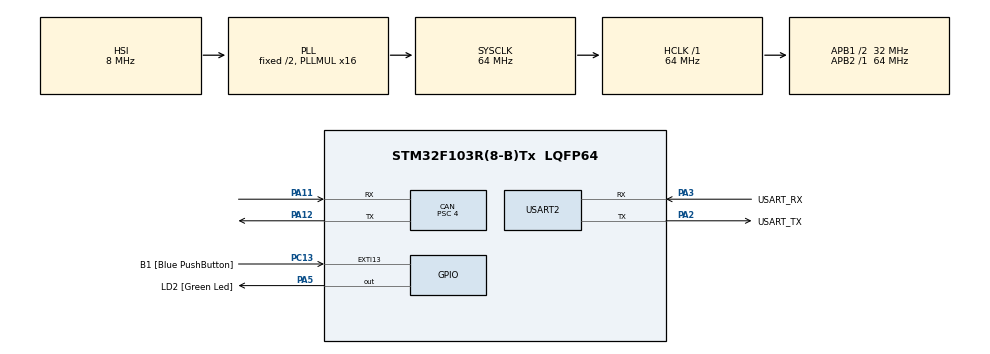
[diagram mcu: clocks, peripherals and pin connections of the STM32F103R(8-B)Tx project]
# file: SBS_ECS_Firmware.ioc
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CAN.BS1=CAN_BS1_13TQ
CAN.BS2=CAN_BS2_2TQ
CAN.CalculateBaudRate=500000
CAN.CalculateTimeBit=2000
CAN.CalculateTimeQuantum=125.0
CAN.Prescaler=4
Mcu.Family=STM32F1
Mcu.Name=STM32F103R(8-B)Tx
Mcu.Package=LQFP64
NVIC.EXTI15_10_IRQn=true\:0\:0\:false\:false\:true\:true\:true\:true
NVIC.PriorityGroup=NVIC_PRIORITYGROUP_4
NVIC.USART2_IRQn=true\:0\:0\:false\:false\:true\:true\:true\:true
NVIC.USB_LP_CAN1_RX0_IRQn=true\:0\:0\:false\:false\:true\:true\:true\:true
PA11.Mode=CAN_Activate
PA11.Signal=CAN_RX
PA12.Mode=CAN_Activate
PA12.Signal=CAN_TX
PA13.GPIO_Label=TMS
PA13.Mode=Serial_Wire
PA13.Signal=SYS_JTMS-SWDIO
PA14.GPIO_Label=TCK
PA14.Mode=Serial_Wire
PA14.Signal=SYS_JTCK-SWCLK
PA2.GPIO_Label=USART_TX
PA2.GPIO_Mode=GPIO_MODE_AF_PP
PA2.GPIO_PuPd=GPIO_NOPULL
PA2.GPIO_Speed=GPIO_SPEED_FREQ_LOW
PA2.Mode=Asynchronous
PA2.Signal=USART2_TX
PA3.GPIO_Label=USART_RX
PA3.GPIO_Mode=GPIO_MODE_AF_PP
PA3.GPIO_PuPd=GPIO_NOPULL
PA3.GPIO_Speed=GPIO_SPEED_FREQ_LOW
PA3.Mode=Asynchronous
PA3.Signal=USART2_RX
PA5.GPIO_Label=LD2 [Green Led]
PA5.GPIO_ModeDefaultOutputPP=GPIO_MODE_OUTPUT_PP
PA5.GPIO_PuPd=GPIO_NOPULL
PA5.GPIO_Speed=GPIO_SPEED_FREQ_LOW
PA5.Signal=GPIO_Output
PB3.GPIO_Label=SWO
PB3.Signal=SYS_JTDO-TRACESWO
PC13-TAMPER-RTC.GPIO_Label=B1 [Blue PushButton]
PC13-TAMPER-RTC.GPIO_PuPd=GPIO_NOPULL
PC13-TAMPER-RTC.Signal=GPXTI13
PC14-OSC32_IN.Mode=LSE-External-Oscillator
PC14-OSC32_IN.Signal=RCC_OSC32_IN
PC15-OSC32_OUT.Mode=LSE-External-Oscillator
PC15-OSC32_OUT.Signal=RCC_OSC32_OUT
PD0-OSC_IN.Mode=HSE-External-Clock-Source
PD0-OSC_IN.Signal=RCC_OSC_IN
PD1-OSC_OUT.Mode=HSE-External-Clock-Source
PD1-OSC_OUT.Signal=RCC_OSC_OUT
ProjectManager.HeapSize=0x200
ProjectManager.StackSize=0x400
ProjectManager.TargetToolchain=STM32CubeIDE
RCC.AHBFreq_Value=64000000
RCC.APB1CLKDivider=RCC_HCLK_DIV2
RCC.APB1Freq_Value=32000000
RCC.APB1TimFreq_Value=64000000
RCC.APB2Freq_Value=64000000
RCC.APB2TimFreq_Value=64000000
RCC.HCLKFreq_Value=64000000
RCC.PLLMUL=RCC_PLL_MUL16
RCC.RTCClockSelection=RCC_RTCCLKSOURCE_LSE
RCC.SYSCLKFreq_VALUE=64000000
RCC.SYSCLKSource=RCC_SYSCLKSOURCE_PLLCLK
RCC.USBFreq_Value=64000000
USART2.VirtualMode=VM_ASYNC
board=NUCLEO-F103RB

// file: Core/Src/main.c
/* USER CODE BEGIN Header */
/**
  ******************************************************************************
  * @file           : main.c
  * @brief          : Main program body
  ******************************************************************************
  * @attention
  *
  * Copyright (c) 2026 STMicroelectronics.
  * All rights reserved.
  *
  * This software is licensed under terms that can be found in the LICENSE file
  * in the root directory of this software component.
  * If no LICENSE file comes with this software, it is provided AS-IS.
  *
  ******************************************************************************
  */
/* USER CODE END Header */
#include "main.h"

/* USER CODE BEGIN Includes */
#include "ecs_can.h"
#include "ecs_math.h"
#include <stdio.h>
/* USER CODE END Includes */

CAN_HandleTypeDef hcan;

UART_HandleTypeDef huart2;

/* USER CODE BEGIN PV */
/* USER CODE BEGIN PV */
float g_Last_Angle = 0.0f; // 계산된 최신 방위각 기억용
uint8_t uart_rx_byte;      // 1바이트씩 받을 변수
uint8_t uart_rx_buf[10];   // 패킷을 모아둘 버퍼
uint8_t uart_rx_idx = 0;
/* USER CODE END PV */
/* USER CODE END PV */

void SystemClock_Config(void);
static void MX_GPIO_Init(void);
static void MX_USART2_UART_Init(void);
static void MX_CAN_Init(void);

/* USER CODE BEGIN 0 */
int __io_putchar(int ch)
{
 if ( ch == '\n' )
	 HAL_UART_Transmit(&huart2, (uint8_t*)&"\r", 1, HAL_MAX_DELAY);
 HAL_UART_Transmit(&huart2, (uint8_t*)&ch, 1, HAL_MAX_DELAY);
 return ch;
}
/* USER CODE END 0 */

int main(void)
{

  /* MCU Configuration--------------------------------------------------------*/

  /* Reset of all peripherals, Initializes the Flash interface and the Systick. */
  HAL_Init();

  /* Configure the system clock */
  SystemClock_Config();

  /* Initialize all configured peripherals */
  MX_GPIO_Init();
  MX_USART2_UART_Init();
  MX_CAN_Init();
  /* USER CODE BEGIN 2 */
    ECS_CAN_Filter_Init();

    // 💡 메인 루프 진입 전에 UART 인터럽트 수신을 최초 1회 시작해 줍니다.
    HAL_UART_Receive_IT(&huart2, &uart_rx_byte, 1);

    // [추가] UART 동작 확인용 테스트 메시지
    printf("ECS System Started...\r\n");
    HAL_UART_Transmit(&huart2, (uint8_t*)"UART OK\r\n", 9, 100);
    /* USER CODE END 2 */

    /* Infinite loop */
    /* USER CODE BEGIN WHILE */
    while (1)
    {
        // 1. 탐색기 데이터 처리 (의존성 분리)
        // 데이터가 들어올 때만 '좌표'와 '계산된 각도'를 최신화함
        if (g_NewTarget_Flag == 1) {
            g_NewTarget_Flag = 0;

            // 최신 좌표와 각도 업데이트 (저장만 하고 발사대로 명령은 안 쏨)
            g_Last_Angle = ECS_Math_CalAngle(g_Target_X_mm, g_Target_Y_mm);
        }

        // 2. UI 주기적 업데이트 (독립적 동작)
        // 탐색기 데이터 수신 여부와 상관없이 1000ms(1초)마다 UI에 현재 상태 전송
        static uint32_t last_ui_tick = 0;
        if (HAL_GetTick() - last_ui_tick >= 1000) {
            last_ui_tick = HAL_GetTick();

            char uartBuf[100];
            // 현재 저장된 X, Y, 각도, 그리고 발사대로부터 받은 최신 상태를 무조건 전송
            sprintf(uartBuf, "%.1f,%.1f,%.1f,%d\n",
                    g_Target_X_mm, g_Target_Y_mm, g_Last_Angle, g_Launcher_Status);

            HAL_UART_Transmit(&huart2, (uint8_t*)uartBuf, strlen(uartBuf), 10);
        }

        /* 💡 [참고] 발사대 제어 명령(ALIGN, FIRE 등)은 여기서 처리하지 않습니다.
           앞서 수정했던 'HAL_UART_RxCpltCallback' 인터럽트 함수가 UI 버튼 신호를
           받는 즉시 독립적으로 발사대에 CAN 메시지를 쏘게 됩니다.
        */
        // ⭐ [테스트 코드] 2초마다 강제로 발사대에 '정렬' 명령을 보냄
//            static uint32_t test_tick = 0;
//            if (HAL_GetTick() - test_tick >= 2000) {
//                test_tick = HAL_GetTick();
//
//                // 45도 각도로 정렬 명령 강제 전송
//                ECS_CAN_SendToLauncher(45.0f, LTL_CMD_ALIGN);
//                printf("[TEST] Manually sending ALIGN to Launcher...\n");
//            }

    /* USER CODE END WHILE */

  }
}

void SystemClock_Config(void)
{
  RCC_OscInitTypeDef RCC_OscInitStruct = {0};
  RCC_ClkInitTypeDef RCC_ClkInitStruct = {0};

  /** Initializes the RCC Oscillators according to the specified parameters
  * in the RCC_OscInitTypeDef structure.
  */
  RCC_OscInitStruct.OscillatorType = RCC_OSCILLATORTYPE_HSI;
  RCC_OscInitStruct.HSIState = RCC_HSI_ON;
  RCC_OscInitStruct.HSICalibrationValue = RCC_HSICALIBRATION_DEFAULT;
  RCC_OscInitStruct.PLL.PLLState = RCC_PLL_ON;
  RCC_OscInitStruct.PLL.PLLSource = RCC_PLLSOURCE_HSI_DIV2;
  RCC_OscInitStruct.PLL.PLLMUL = RCC_PLL_MUL16;
  if (HAL_RCC_OscConfig(&RCC_OscInitStruct) != HAL_OK)
  {
    Error_Handler();
  }

  /** Initializes the CPU, AHB and APB buses clocks
  */
  RCC_ClkInitStruct.ClockType = RCC_CLOCKTYPE_HCLK|RCC_CLOCKTYPE_SYSCLK
                              |RCC_CLOCKTYPE_PCLK1|RCC_CLOCKTYPE_PCLK2;
  RCC_ClkInitStruct.SYSCLKSource = RCC_SYSCLKSOURCE_PLLCLK;
  RCC_ClkInitStruct.AHBCLKDivider = RCC_SYSCLK_DIV1;
  RCC_ClkInitStruct.APB1CLKDivider = RCC_HCLK_DIV2;
  RCC_ClkInitStruct.APB2CLKDivider = RCC_HCLK_DIV1;

  if (HAL_RCC_ClockConfig(&RCC_ClkInitStruct, FLASH_LATENCY_2) != HAL_OK)
  {
    Error_Handler();
  }
}

static void MX_CAN_Init(void)
{

  hcan.Instance = CAN1;
  hcan.Init.Prescaler = 4;
  hcan.Init.Mode = CAN_MODE_NORMAL;
  hcan.Init.SyncJumpWidth = CAN_SJW_1TQ;
  hcan.Init.TimeSeg1 = CAN_BS1_13TQ;
  hcan.Init.TimeSeg2 = CAN_BS2_2TQ;
  hcan.Init.TimeTriggeredMode = DISABLE;
  hcan.Init.AutoBusOff = DISABLE;
  hcan.Init.AutoWakeUp = DISABLE;
  hcan.Init.AutoRetransmission = DISABLE;
  hcan.Init.ReceiveFifoLocked = DISABLE;
  hcan.Init.TransmitFifoPriority = DISABLE;
  if (HAL_CAN_Init(&hcan) != HAL_OK)
  {
    Error_Handler();
  }

}

static void MX_USART2_UART_Init(void)
{

  huart2.Instance = USART2;
  huart2.Init.BaudRate = 115200;
  huart2.Init.WordLength = UART_WORDLENGTH_8B;
  huart2.Init.StopBits = UART_STOPBITS_1;
  huart2.Init.Parity = UART_PARITY_NONE;
  huart2.Init.Mode = UART_MODE_TX_RX;
  huart2.Init.HwFlowCtl = UART_HWCONTROL_NONE;
  huart2.Init.OverSampling = UART_OVERSAMPLING_16;
  if (HAL_UART_Init(&huart2) != HAL_OK)
  {
    Error_Handler();
  }

}

static void MX_GPIO_Init(void)
{
  GPIO_InitTypeDef GPIO_InitStruct = {0};

  /* GPIO Ports Clock Enable */
  __HAL_RCC_GPIOC_CLK_ENABLE();
  __HAL_RCC_GPIOD_CLK_ENABLE();
  __HAL_RCC_GPIOA_CLK_ENABLE();
  __HAL_RCC_GPIOB_CLK_ENABLE();

  /*Configure GPIO pin Output Level */
  HAL_GPIO_WritePin(LD2_GPIO_Port, LD2_Pin, GPIO_PIN_RESET);

  /*Configure GPIO pin : B1_Pin */
  GPIO_InitStruct.Pin = B1_Pin;
  GPIO_InitStruct.Mode = GPIO_MODE_IT_RISING;
  GPIO_InitStruct.Pull = GPIO_NOPULL;
  HAL_GPIO_Init(B1_GPIO_Port, &GPIO_InitStruct);

  /*Configure GPIO pin : LD2_Pin */
  GPIO_InitStruct.Pin = LD2_Pin;
  GPIO_InitStruct.Mode = GPIO_MODE_OUTPUT_PP;
  GPIO_InitStruct.Pull = GPIO_NOPULL;
  GPIO_InitStruct.Speed = GPIO_SPEED_FREQ_LOW;
  HAL_GPIO_Init(LD2_GPIO_Port, &GPIO_InitStruct);

  /* EXTI interrupt init*/
  HAL_NVIC_SetPriority(EXTI15_10_IRQn, 0, 0);
  HAL_NVIC_EnableIRQ(EXTI15_10_IRQn);

}

/* USER CODE BEGIN 4 */
void HAL_UART_RxCpltCallback(UART_HandleTypeDef *huart) {
    if (huart->Instance == USART2) {
    	// ** 테스트용[진단 로그] 어떤 바이트든 들어오면 무조건 출력해봅니다.
		//printf("RX: 0x%02X, Idx: %d\n", uart_rx_byte, uart_rx_idx);

        // 1바이트 수신 데이터를 버퍼에 저장
        uart_rx_buf[uart_rx_idx] = uart_rx_byte;

        // [패킷 종료 확인] ETX(0x03)가 들어오면 해석 시작
        //if (uart_rx_byte == 0x03) {
            // [유효성 검사] 시작이 STX(0x02)인지 확인
        if(1) {
            //if (uart_rx_buf[0] == 0x02) {
        	if(1) {
                uint8_t cmd = uart_rx_buf[uart_rx_idx++]; // UI가 보낸 명령어 코드

                switch (cmd) {
                    case 0x00: // LauncherAlign (UI: 0x00)
                        ECS_CAN_SendToLauncher(g_Last_Angle, LTL_CMD_ALIGN);
                        printf("[UART] Launcher ALIGN Command\n");
                        break;

                    case 0x01: // LauncherFire (UI: 0x01)
                        ECS_CAN_SendToLauncher(g_Last_Angle, LTL_CMD_FIRE);
                        printf("[UART] Launcher FIRE Command\n");
                        break;

                    case 0x02: // SeekerStart (UI: 0x02)
                        ECS_CAN_SendToSeeker(DET_CMD_STANDBY);
                        printf("[UART] Seeker START Command\n");
                        break;

                    case 0x03: // SeekerStop (UI: 0x03)
                        ECS_CAN_SendToSeeker(DET_CMD_RESET);
                        printf("[UART] Seeker STOP Command\n");
                        break;

                    case 0x04: // EmergencyStop (UI: 0x04)
                        ECS_CAN_SendToLauncher(g_Last_Angle, LTL_CMD_EMERGENCY);
                        ECS_CAN_SendToSeeker(DET_CMD_RESET);
                        printf("[UART] EMERGENCY STOP Command\n");
                        break;

                    default:
                        printf("[UART] Unknown Command: 0x%02X\n", cmd);
                        break;
                }
            }
            // 패킷 처리 완료 후 인덱스 초기화
            uart_rx_idx = 0;
        }

        // 버퍼 오버플로우 방지
        if (uart_rx_idx >= 10) uart_rx_idx = 0;

        // 다음 바이트 수신 대기 (중요!)
        HAL_UART_Receive_IT(&huart2, &uart_rx_byte, 1);
    }
}
/* USER CODE END 4 */

void Error_Handler(void)
{
  __disable_irq();
  while (1)
  {
  }
}
